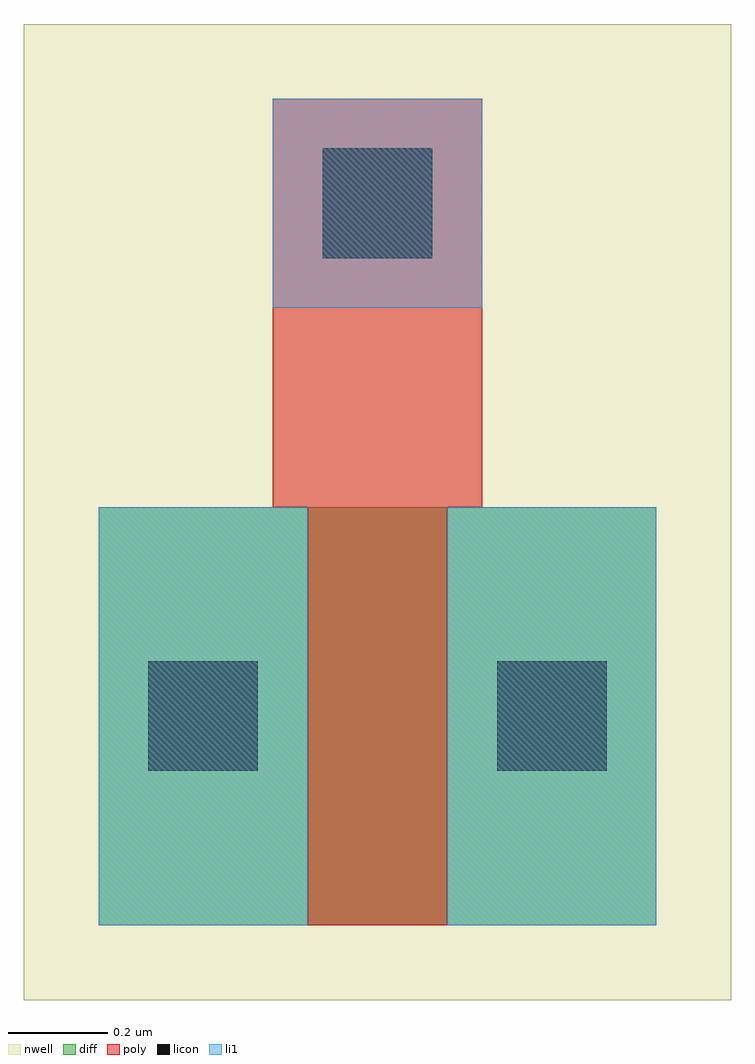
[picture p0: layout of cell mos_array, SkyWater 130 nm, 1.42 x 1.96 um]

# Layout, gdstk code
import gdstk
lib = gdstk.Library(unit=1e-6, precision=1e-09)
def R(c, l, rs):  # rectangles x0, y0, x1, y1
    for r in rs: c.add(gdstk.rectangle(r[:2], r[2:], *l))
nwell = (64, 20)
diff = (65, 20)
poly = (66, 20)
licon = (66, 44)
li1 = (67, 20)

mos_array = lib.new_cell('mos_array')
R(mos_array, nwell, [(-0.15,-0.15,1.27,1.81)])
R(mos_array, diff, [(0,0,1.12,0.84)])
R(mos_array, poly, [(0.42,0,0.7,0.84), (0.35,0.84,0.77,1.66)])
R(mos_array, licon, [(0.1,0.31,0.32,0.53), (0.8,0.31,1.02,0.53), (0.45,1.34,0.67,1.56)])
R(mos_array, li1, [(0,0,0.42,0.84), (0.7,0,1.12,0.84), (0.35,1.24,0.77,1.66)])

lib.write_gds('mos_array.gds')
